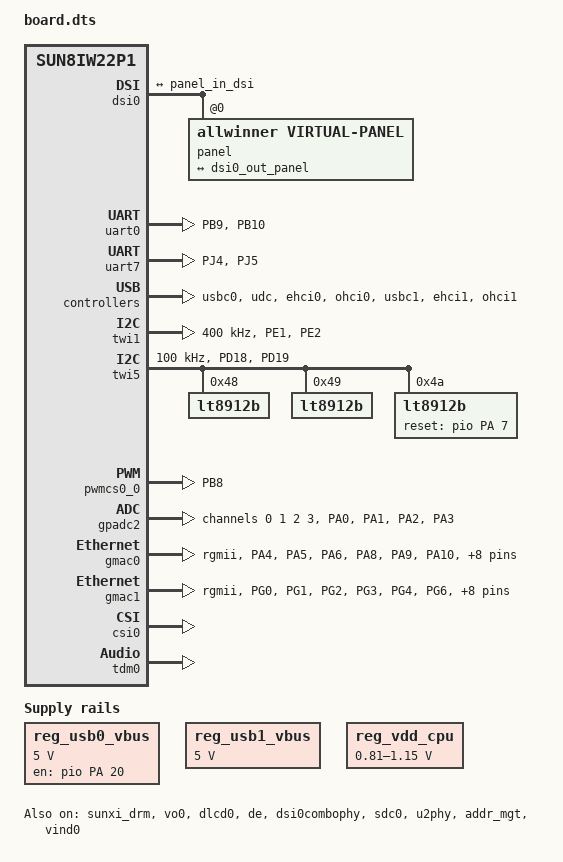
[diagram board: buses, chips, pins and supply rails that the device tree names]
// SPDX-License-Identifier: (GPL-2.0+ or MIT)

/dts-v1/;

#include "sun8iw22p1.dtsi"
#include <dt-bindings/input/input.h>

/{
	board = "t153", "t153-demo";
	compatible = "allwinner,t153", "arm,sun8iw22p1";
	aliases {
	};

	reg_usb0_vbus: usb0-vbus {
		compatible = "regulator-fixed";
		regulator-name = "usb0-vbus";
		regulator-min-microvolt = <5000000>;
		regulator-max-microvolt = <5000000>;
		regulator-enable-ramp-delay = <1000>;
		gpios = <&pio PA 20 GPIO_ACTIVE_HIGH>;
                enable-active-high;
	};

	reg_usb1_vbus: usb1-vbus {
		compatible = "regulator-fixed";
		regulator-name = "usb1-vbus";
		regulator-min-microvolt = <5000000>;
		regulator-max-microvolt = <5000000>;
		regulator-enable-ramp-delay = <1000>;
		enable-active-high;
	};

	reg_vdd_cpu: reg_vdd_cpu {
		compatible = "sunxi-pwm-regulator";
		pwms = <&pwmcs0 0 5000 1>;
		regulator-name = "vdd_cpu";
		regulator-min-microvolt = <810000>;
		regulator-max-microvolt = <1150000>;
		regulator-settling-time-us = <4000>;
		regulator-always-on;
		regulator-boot-on;
		status = "okay";
	};

	reserved-memory {
		rv_sram_reserved: riscvsram0@40000 {
			reg = <0x0 0x00040000 0x0 0x0002BFFF>;
			no-map;
			sleep-data-loss;
		};

		e907_mem_fw: e907_mem_fw@44000000 {
			/* boot0 & uboot0 load elf addr */
			reg = <0x0 0x44000000 0x0 0x00200000>;
		};

		/*
			* The name should be "vdev%dbuffer".
			* Its size should be not less than
			*     RPMSG_BUF_SIZE * (num of buffers in a vring) * 2
			*   = 512 * (num of buffers in a vring) * 2
			*/
		rv_vdev0buffer: vdev0buffer@42100000 {
			compatible = "shared-dma-pool";
			reg = <0x0 0x42100000 0x0 0x40000>;
			no-map;
		};

		/*
			* The name should be "vdev%dvring%d".
			* The size of each should be not less than
			*     PAGE_ALIGN(vring_size(num, align))
			*   = PAGE_ALIGN(16 * num + 6 + 2 * num + (pads for align) + 6 + 8 * num)
			*
			* (Please refer to the vring layout in include/uapi/linux/virtio_ring.h)
			*/
		rv_vdev0vring0: vdev0vring0@42140000 {
			reg = <0x0 0x42140000 0x0 0x2000>;
			no-map;
		};
		rv_vdev0vring1: vdev0vring1@42142000 {
			reg = <0x0 0x42142000 0x0 0x2000>;
			no-map;
		};

		e907_rpbuf_reserved: e907_rpbuf@42144000 {
			compatible = "shared-dma-pool";
			no-map;
			reg = <0x0 0x42144000 0x0 0x80000>;
		};

		e907_share_irq_table: share_irq_table@421c4000 {
			reg = <0x0 0x421c4000 0x0 0x1000>;
			no-map;
		};

		e907_dram_reserved: e907_dram@421c5000 {
			reg = <0x0 0x421c5000 0x0 0x00300000>;
			no-map;
		};
	};

	rpbuf_controller0: rpbuf_controller@0 {
			compatible = "allwinner,rpbuf-controller";
			remoteproc = <&e907_rproc>;
			ctrl_id = <0>;
			memory-region = <&e907_rpbuf_reserved>;
			status = "okay";
	};

	backlight0: backlight0 {
		compatible = "pwm-backlight";
		status = "disabled";
		brightness-levels = <
			0   1   2   3   4   5   6   7
			8   9   10  11  12  13  14  15
			16  17  18  19  20  21  22  23
			24  25  26  27  28  29  30  31
			32  33  34  35  36  37  38  39
			40  41  42  43  44  45  46  47
			48  49  50  51  52  53  54  55
			56  57  58  59  60  61  62  63
			64  65  66  67  68  69  70  71
			72  73  74  75  76  77  78  79
			80  81  82  83  84  85  86  87
			88  89  90  91  92  93  94  95
			96  97  98  99  100 101 102 103
			104 105 106 107 108 109 110 111
			112 113 114 115 116 117 118 119
			120 121 122 123 124 125 126 127
			128 129 130 131 132 133 134 135
			136 137 138 139 140 141 142 143
			144 145 146 147 148 149 150 151
			152 153 154 155 156 157 158 159
			160 161 162 163 164 165 166 167
			168 169 170 171 172 173 174 175
			176 177 178 179 180 181 182 183
			184 185 186 187 188 189 190 191
			192 193 194 195 196 197 198 199
			200 201 202 203 204 205 206 207
			208 209 210 211 212 213 214 215
			216 217 218 219 220 221 222 223
			224 225 226 227 228 229 230 231
			232 233 234 235 236 237 238 239
			240 241 242 243 244 245 246 247
			248 249 250 251 252 253 254 255>;
		default-brightness-level = <150>;
		enable-gpios = <&pio PB 14 GPIO_ACTIVE_HIGH>;
		pwms = <&pwmcs0 0 25000 0>;
	};

	lvds_panel: lvds_panel@0 {
		compatible = "sunxi-lvds";
		status = "disabled";
		backlight = <&backlight0>;
		bus-format = <MEDIA_BUS_FMT_RGB888_1X7X4_SPWG>;
		display-timings {
			native-mode = <&lvds0_timing0>;
			lvds0_timing0: timing0 {
				clock-frequency = <51448320>;
				hback-porch = <100>;
				hactive = <1024>;
				hfront-porch = <160>;
				hsync-len = <60>;
				vback-porch = <13>;
				vactive = <600>;
				vfront-porch = <15>;
				vsync-len = <10>;
			};
		};
		port {
			lvds_panel_in: endpoint {
				remote-endpoint = <&lvds_panel_out>;
			};
		};
	};
#if 0
	panel_0: panel_0@0 {
		compatible = "allwinner,panel-dsi";
		status = "disabled";
		enable-delay-ms = <10>;
		reset-gpios = <&pio PD 21 GPIO_ACTIVE_HIGH>;
		reset-on-sequence = <1 10>, <0 20>, <1 100>;
		reset-off-sequence = <0 100>;
		backlight = <&backlight0>;
		dsi,flags = <(MIPI_DSI_MODE_VIDEO | MIPI_DSI_ASYNC_INCELL)>;
		dsi,lanes = <4>;
		dsi,format = <0>;
		panel-init-sequence = [
			05 78 01 11
			05 14 01 29
		];
		panel-exit-sequence = [
			05 00 01 28
			05 78 01 10
		];

		display-timings {
			native-mode = <&timing0>;
			panel_timing0: panel_timing0 {
				clock-frequency = <156408000>;
				hback-porch = <40>;
				hactive = <1200>;
				hfront-porch = <80>;
				hsync-len = <10>;
				vback-porch = <16>;
				vactive = <1920>;
				vfront-porch = <20>;
				vsync-len = <4>;
			};
		};
		port {
			#address-cells = <1>;
			#size-cells = <0>;
			panel0_in: endpoint@0 {
				reg = <0>;
				remote-endpoint = <&panel_output_0>;
			};
		};
	};
#endif
	rgb_panel0: rgb_panel@1 {
		compatible = "sunxi-rgb";
		status = "disabled";
		reg = <0>;
		backlight = <&backlight0>;
		display-timings {
			native-mode = <&rgb0_timing0>;
			rgb0_timing0: timing0 {
				clock-frequency = <29232000>;
				hback-porch = <40>;
				hactive = <800>;
				hfront-porch = <40>;
				hsync-len = <48>;
				vback-porch = <29>;
				vactive = <480>;
				vfront-porch = <13>;
				vsync-len = <3>;
			};
		};
		port {
			rgb0_panel_in: endpoint {
				remote-endpoint = <&rgb0_panel_out>;
			};
		};
	};

	can0 {
		compatible = "allwinner,sun8i-t153-can";
		reg = <0x0 0x0453C800 0x0 0x400>,
			<0x0 0x04538000 0x0 0x4400>,
			<0x0 0x04530000 0x0 0x1000>,
			<0x0 0x04534000 0x0 0x1000>;
		reg-names = "can", "message_ram", "can_top", "can_dma";
		interrupts = <GIC_SPI 36 IRQ_TYPE_LEVEL_HIGH>, <GIC_SPI 35 IRQ_TYPE_LEVEL_HIGH>, <GIC_SPI 37 IRQ_TYPE_LEVEL_HIGH>;
		interrupt-names = "int0", "int_top", "int1";
		clocks = <&ccu CLK_CAN0>, <&ccu CLK_BUS_CAN0>, <&ccu CLK_MBUS_CAN_GATE>;
		clock-names = "can_clk", "can_bus", "can_mbus";
		resets = <&ccu RST_BUS_CAN0>, <&ccu RST_BUS_CAN_SYS>;
		reset-names = "can_rst", "can_sys_rst";
		clock-frequency = <40000000>;
		allwinner,ram-cfg = <0x0 0 0 64 64 64 32 32>;
		pinctrl-0 = <&can0_pins_active>;
		pinctrl-1 = <&can0_pins_sleep>;
		pinctrl-names = "default", "sleep";
		// status = "okay";
		status = "disabled"; // Modfiy by MHY
	};

	can1 {
		compatible = "allwinner,sun8i-t153-can";
		reg = <0x0 0x04541800 0x0 0x400>,
				<0x0 0x0453D000 0x0 0x4400>,
				<0x0 0x04531000 0x0 0x1000>,
				<0x0 0x04535000 0x0 0x1000>;
		reg-names = "can", "message_ram", "can_top", "can_dma";
		interrupts = <GIC_SPI 144 IRQ_TYPE_LEVEL_HIGH>, <GIC_SPI 146 IRQ_TYPE_LEVEL_HIGH>, <GIC_SPI 145 IRQ_TYPE_LEVEL_HIGH>;
		interrupt-names = "int0", "int_top", "int1";
		clocks = <&ccu CLK_CAN1>, <&ccu CLK_BUS_CAN1>, <&ccu CLK_MBUS_CAN_GATE>;
		clock-names = "can_clk", "can_bus", "can_mbus";
		resets = <&ccu RST_BUS_CAN1>, <&ccu RST_BUS_CAN_SYS>;
		reset-names = "can_rst", "can_sys_rst";
		clock-frequency = <40000000>;
		allwinner,ram-cfg = <0x0 0 0 64 64 64 32 32>;
		pinctrl-0 = <&can1_pins_active>;
		pinctrl-1 = <&can1_pins_sleep>;
		pinctrl-names = "default", "sleep";
		// status = "okay";
		status = "disabled"; // Modfiy by MHY
	};
};

&pio {
	uart0_pins_active: uart0_pins@0 {
		pins = "PB9", "PB10";
		function = "uart0";
	};

	uart0_pins_sleep: uart0_pins@1 {
		pins = "PB9", "PB10";
		function = "io_disabled";
	};

	uart1_pins_active: uart1_pins@0 {
		pins = "PG6", "PG7", "PG8", "PG9";
		function = "uart1";
		drive-strength = <10>;
		bias-pull-up;
	};

	uart1_pins_sleep: uart1_pins@1 {
		pins = "PG6", "PG7", "PG8", "PG9";
		function = "gpio_in";
	};

	uart2_pins_active: uart2_pins@0 {
		pins = "PD2", "PD3", "PD1", "PD0";
		function = "uart2";
	};

	uart2_pins_sleep: uart2_pins@1 {
		pins = "PD2", "PD3", "PD1", "PD0";
		function = "io_disabled";
	};

	uart3_pins_active: uart3_pins@0 {
		pins = "PD14", "PD15", "PD16", "PD17";
		function = "uart3";
	};

	uart3_pins_sleep: uart3_pins@1 {
		pins = "PD14", "PD15", "PD16", "PD17";
		function = "io_disabled";
	};

	uart4_pins_active: uart4_pins@0 {
		pins = "PD6", "PD7", "PD5", "PD4";
		function = "uart4";
	};

	uart4_pins_sleep: uart4_pins@1 {
		pins = "PD6", "PD7", "PD5", "PD4";
		function = "io_disabled";
	};

	uart5_pins_active: uart5_pins@0 {
		pins = "PC9", "PC10", "PC11", "PC8";
		function = "uart5";
	};

	uart5_pins_sleep: uart5_pins@1 {
		pins = "PC9", "PC10", "PC11", "PC8";
		function = "io_disabled";
	};

	uart6_pins_active: uart6_pins@0 {
		pins = "PA14", "PA15", "PE5", "PE6";
		function = "uart6";
	};

	uart6_pins_sleep: uart6_pins@1 {
		pins = "PA14", "PA15", "PE5", "PE6";
		function = "io_disabled";
	};
/*
	uart7_pins_active: uart7_pins@0 {
		pins = "PB13", "PB14", "PB11", "PB12";
		function = "uart7";
	};

	uart7_pins_sleep: uart7_pins@1 {
		pins = "PB13", "PB14", "PB11", "PB12";
		function = "io_disabled";
	};
*/

	uart7_pins_active: uart7_pins@0 {
		pins = "PJ4", "PJ5";
		function = "uart7";
	};

	uart7_pins_sleep: uart7_pins@1 {
		pins = "PJ4", "PJ5";
		function = "io_disabled";
	};

	uart8_pins_active: uart8_pins@0 {
		pins = "PD10", "PD11", "PD12", "PD13";
		function = "uart8";
	};

	uart8_pins_sleep: uart8_pins@1 {
		pins = "PD10", "PD11", "PD12", "PD13";
		function = "io_disabled";
	};

	uart9_pins_active: uart9_pins@0 {
		pins = "PD0", "PD1", "PD2", "PD3";
		function = "uart9";
	};

	uart9_pins_sleep: uart9_pins@1 {
		pins = "PD0", "PD1", "PD2", "PD3";
		function = "io_disabled";
	};

	/* CAN0 */
	can0_pins_active: can0_pins@0 {
		pins = "PJ12", "PJ13";
		function = "uart9";
	};

	can0_pins_sleep: can0_pins@1 {
		pins = "PJ12", "PJ13";
		function = "io_disabled";
	};

	/* CAN1 */
	can1_pins_active: can1_pins@0 {
		pins = "PJ14", "PJ15";
		function = "uart9";
	};

	can1_pins_sleep: can1_pins@1 {
		pins = "PJ14", "PJ15";
		function = "io_disabled";
	};

	spi0_pins_default: spi0@0 {
		pins = "PC0", "PC2", "PC3"; /* clk, mosi, miso */
		function = "spi0";
		drive-strength = <20>;
	};

	spi0_pins_cs: spi0@1 {
		pins = "PC1", "PC4", "PC5"; /* cs, wp, hold */
		function = "spi0";
		drive-strength = <20>;
		bias-pull-up;
	};

	spi0_pins_sleep: spi0@3 {
		pins = "PC0", "PC1", "PC2", "PC3", "PC4", "PC5";
		function = "gpio_in";
		drive-strength = <10>;
	};

	spi3_pins_default: spi1@0 {
		pins = "PB1", "PB2", "PB3"; /* clk, mosi, miso */
		function = "spi3";
		drive-strength = <10>;
	};

	spi3_pins_cs: spi1@1 {
		pins = "PB0"; /* cs, wp, hold */
		function = "spi3";
		drive-strength = <10>;
		bias-pull-up;
	};

	spi3_pins_sleep: spi1@2 {
		pins = "PB0", "PB1", "PB2", "PB3";
		function = "gpio_in";
		drive-strength = <10>;
	};

	twi1_pins_default: twi1@0 {
		pins = "PE1", "PE2";
		function = "twi1";
		drive-strength = <10>;
		bias-pull-up;
	};

	twi1_pins_sleep: twi1@1 {
		pins = "PE1", "PE2";
		function = "gpio_in";
	};


	twi2_pins_default: twi2@0 {
		pins = "PK7", "PK8";
		function = "twi2";
		drive-strength = <10>;
		bias-pull-up;
	};

	twi2_pins_sleep: twi2@1 {
		pins = "PK7", "PK8";
		function = "gpio_in";
	};
#if 0
	twi5_pins_default: twi5@0 {
		pins = "PD20", "PD21";
		function = "twi5";
		drive-strength = <10>;
		bias-pull-up;
	};

	twi5_pins_sleep: twi5@1 {
		pins = "PD20", "PD21";
		function = "gpio_in";
	};
#endif
	twi5_pins_default: twi5@0 {
		pins = "PD18", "PD19";
		function = "twi5";
		drive-strength = <10>;
		bias-pull-up;
	};

	twi5_pins_sleep: twi5@1 {
		pins = "PD18", "PD19";
		function = "gpio_in";
	};


	pwmcs0_0_pins_active: pwmcs0_0@0 {
		pins = "PB8";
		function = "pwm0_0";
		drive-strength = <20>;
	};

	pwmcs0_0_pins_sleep: pwmcs0_0@1 {
		pins = "PB8";
		function = "gpio_in";
		bias-pull-down;
	};

	pwmcs0_4_pins_active: pwmcs0_4@0 {
		pins = "PB13";
		function = "pwm0_4";
		drive-strength = <20>;
	};

	pwmcs0_4_pins_sleep: pwmcs0_4@1 {
		pins = "PB13";
		function = "gpio_in";
		bias-pull-down;
	};

	gpadc0_pins_default: gpadc0@0 {
		pins = "PA4", "PA5", "PA6", "PA7", "PA8", "PA9", "PA10", "PA11", "PA12", "PA13";
		function = "gpadc0";
	};

	gpadc0_pins_sleep: gpadc0@1 {
		pins = "PA4", "PA5", "PA6", "PA7", "PA8", "PA9", "PA10", "PA11", "PA12", "PA13";
		function = "gpio_in";
	};

	gpadc1_pins_default: gpadc1@0 {
		pins = "PA14","PA15";
		function = "gpadc1";
	};

	gpadc2_pins_sleep: gpadc2@1 {
		pins = "PA0", "PA1", "PA2", "PA3";
		function = "gpio_in";
	};

	gpadc2_pins_default: gpadc2@0 {
		pins = "PA0","PA1", "PA2", "PA3";
		function = "gpadc2";
	};

	gpadc1_pins_sleep: gpadc1@1 {
		pins = "PA14", "PA15";
		function = "gpio_in";
	};


	irrx0_pins_default: irrx0@0 {
		pins = "PJ12";
		function = "ir0";
	};

	irrx0_pins_sleep: irrx0@1 {
		pins = "PJ12";
		function = "gpio_in";
	};

	irrx1_pins_default: irrx1@0 {
		pins = "PJ13";
		function = "ir1";
	};

	irrx1_pins_sleep: irrx1@1 {
		pins = "PJ13";
		function = "gpio_in";
	};

	irrx2_pins_default: irrx2@0 {
		pins = "PJ14";
		function = "ir2";
	};

	irrx2_pins_sleep: irrx2@1 {
		pins = "PJ14";
		function = "gpio_in";
	};

	irrx3_pins_default: irrx3@0 {
		pins = "PJ15";
		function = "ir3";
	};

	irrx3_pins_sleep: irrx3@1 {
		pins = "PJ15";
		function = "gpio_in";
	};

	irtx0_pins_default: irtx@0 {
		pins = "PJ9";
		function = "ir";
	};

	irtx0_pins_sleep: irtx@1 {
		pins = "PJ9";
		function = "gpio_in";
	};

	dmic_pins_a: dmic@0 {
		/* DMIC_PIN: CLK, DATA0, DATA1, DATA2 */
		pins = "PF2", "PF3", "PF4", "PF5";
		function = "dmic";
		drive-strength = <10>;
		bias-disable;
	};

	dmic_pins_b: dmic@1 {
		pins = "PF2", "PF3", "PF4", "PF5";
		function = "io_disabled";
		drive-strength = <10>;
		bias-disable;
	};

	ledc_pins_default: ledc@0 {
		pins = "PJ8";
		function = "ledc";
		drive-strength = <20>;
	};

	ledc_pins_sleep: ledc@1 {
		pins = "PJ8";
		function = "gpio_in";
	};

	gmac0_pins_default: gmac0@0 {
		pins = "PA4", "PA5", "PA6",
			"PA8", "PA9", "PA10", "PA11",
			"PA12", "PA13", "PA15", "PA16", 
			"PA17", "PA18", "PA19";
		function = "rgmii0";
		drive-strength = <40>;
		bias-pull-up;
	};

	gmac0_pins_sleep: gmac0@1 {
		pins = "PA4", "PA5", "PA6", 
			"PA8", "PA9", "PA10", "PA11",
			"PA12", "PA13", "PA15", "PA16", 
			"PA17", "PA18", "PA19";
		function = "io_disabled";
	};

	gmac1_pins_default: gmac1@0 {
		pins = "PG0", "PG1", "PG2", "PG3", 
			"PG4", "PG6", "PG7", "PG8", 
			"PG10", "PG11", "PG12", 
			"PG13", "PG14", "PG15";
		function = "rgmii1";
		drive-strength = <40>;
		bias-pull-up;
	};

	gmac1_pins_sleep: gmac1@1 {
		pins = "PG0", "PG1", "PG2", "PG3", "PG4", "PG6", "PG7",
			"PG8", "PG10", "PG11", "PG12", "PG13", "PG14", "PG15";
		function = "io_disabled";
	};

	rtp_pins_default: rtp@0 {
		pins = "PA0", "PA1", "PA2", "PA3";
		function = "tp";
	};

	rtp_pins_sleep: rtp@1 {
		pins = "PA0", "PA1", "PA2", "PA3";
		function = "gpio_in";
	};
};

&lvds0 {
	status = "disabled";
	dual-channel = <0>;
	ports {
		#address-cells = <1>;
		#size-cells = <0>;
		port@1 {
			#address-cells = <1>;
			#size-cells = <0>;
			reg = <1>;
			lvds_panel_out: endpoint@0 {
				#address-cells = <1>;
				#size-cells = <0>;
				reg = <0>;
				remote-endpoint = <&lvds_panel_in>;
			};
			lvds_panel_out1: endpoint@1 {
			};
		};
	};
};

&dsi0_4lane_pins_a {
	pins = "PD0", "PD1", "PD2", "PD3", "PD4", "PD5", "PD6", "PD7", "PD8", "PD9";
	function = "dsi";
	drive-strength = <30>;
	bias-disable;
};

&dsi0_4lane_pins_b {
	pins = "PD0", "PD1", "PD2", "PD3", "PD4", "PD5", "PD6", "PD7", "PD8", "PD9";
	function = "io_disabled";
	bias-disable;
};

&dsi0 {
	status = "okay";
	pinctrl-0 = <&dsi0_4lane_pins_a>;
	pinctrl-1 = <&dsi0_4lane_pins_b>;
	pinctrl-names = "active","sleep";

	panel: panel@0 {
		compatible = "allwinner,virtual-panel";
		status = "okay";
		reg = <0>;

//		power-delay-ms = <10>;
//		power0-supply = <&reg_dcdc4>;
//		power1-supply = <&reg_cldo1>;

		reset-num = <1>;
		reset-delay-ms = <60>;
//		backlight = <&backlight0>;
		dsi,flags = <(MIPI_DSI_MODE_VIDEO)>;
		dsi,lanes = <4>;
		dsi,format = <0>; // 0:MIPI_DSI_FMT_RGB888
		panel-init-sequence = [
		];

		panel-exit-sequence = [
		];

		display-timings {
			native-mode = <&timing0>;
			timing0: timing0 {
				clock-frequency = <148500000>;
				hback-porch = <148>;
				hactive = <1920>;
				hfront-porch = <88>;
				hsync-len = <44>;
				vback-porch = <36>;
				vactive = <1080>;
				vfront-porch = <4>;
				vsync-len = <5>;
			};
		};

		port@0 {
			reg = <0>;
			panel_in_dsi: endpoint {
				remote-endpoint = <&dsi0_out_panel>;
			};
		};
	};

	ports {
		port@1 {
			reg = <1>;
			dsi0_out_panel:endpoint {
				remote-endpoint = <&panel_in_dsi>;
			};
		};
	};
};

&rgb0 {
	status = "disabled";
	pinctrl-0 = <&rgb0_24pins_a>;
	pinctrl-1 = <&rgb0_24pins_b>;
	pinctrl-names = "active","sleep";
	ports {
		port@1 {
			#address-cells = <1>;
			#size-cells = <0>;
			reg = <1>;
			rgb0_panel_out: endpoint@0 {
				reg = <0>;
				remote-endpoint = <&rgb0_panel_in>;
			};
			rgb1_panel_out: endpoint@1 {
			};
		};
	};
};

&sunxi_drm {
	status = "okay";
};
&vo0 {
	status = "okay";
};

&dlcd0 {
	status = "okay";
};

&de {
	chn_cfg_mode = <3>;
	status = "okay";
};

&dsi0combophy {
	status = "okay";
};

&uart0 {
	pinctrl-names = "default", "sleep";
	pinctrl-0 = <&uart0_pins_active>;
	pinctrl-1 = <&uart0_pins_sleep>;
	status = "okay";
};

&uart1 {
	pinctrl-names = "default", "sleep";
	pinctrl-0 = <&uart1_pins_active>;
	pinctrl-1 = <&uart1_pins_sleep>;
	status = "disabled";
};

&uart2 {
	pinctrl-names = "default", "sleep";
	pinctrl-0 = <&uart2_pins_active>;
	pinctrl-1 = <&uart2_pins_sleep>;
	status = "disabled";
};

&uart3 {
	pinctrl-names = "default", "sleep";
	pinctrl-0 = <&uart3_pins_active>;
	pinctrl-1 = <&uart3_pins_sleep>;
	status = "disabled";
};

&uart4 {
	pinctrl-names = "default", "sleep";
	pinctrl-0 = <&uart4_pins_active>;
	pinctrl-1 = <&uart4_pins_sleep>;
	status = "disabled";
};

&uart5 {
	pinctrl-names = "default", "sleep";
	pinctrl-0 = <&uart5_pins_active>;
	pinctrl-1 = <&uart5_pins_sleep>;
	status = "disabled";
};

&uart6 {
	pinctrl-names = "default", "sleep";
	pinctrl-0 = <&uart6_pins_active>;
	pinctrl-1 = <&uart6_pins_sleep>;
	status = "disabled";
};

&uart7 {
	pinctrl-names = "default", "sleep";
	pinctrl-0 = <&uart7_pins_active>;
	pinctrl-1 = <&uart7_pins_sleep>;
	status = "okay";
};

&uart8 {
	pinctrl-names = "default", "sleep";
	pinctrl-0 = <&uart8_pins_active>;
	pinctrl-1 = <&uart8_pins_sleep>;
	status = "disabled";
};

&uart9 {
	pinctrl-names = "default", "sleep";
	pinctrl-0 = <&uart9_pins_active>;
	pinctrl-1 = <&uart9_pins_sleep>;
	status = "disabled";
};

&soc {
	e907_rproc: e907_rproc@1a00000 {
		mboxes = <&msgbox 0>, <&msgbox 2>;
		mbox-names = "arm-kick", "arm-standby";
		memory-region = <&rv_vdev0buffer>, <&rv_vdev0vring0>, <&rv_vdev0vring1>, <&e907_dram_reserved>;
		fw-region = <&e907_mem_fw>;
		fw-partitions = "riscv0", "riscv0-r";
		fw-partition-sectors = <2048>;
		memory-mappings =
			/* < DA      len        PA >	*/
			/* SRAM A2 */
			< 0x40000    0x2BFFF    0x40000 >,
			/* SHARED SRAM */
			< 0x1000000  0x7ffff    0x1000000 >,
			/* DRAM SPACE1 */
			< 0x40000000 0x3f000000 0x40000000>,
			/* DRAM SPACE2 */
			< 0x80000000 0x3f000000 0x80000000>,
			/* DRAM SPACE3 */
			< 0xC0000000 0x3f000000 0xC0000000>;
		standby-ctrl-en = <0x1>;
		standby-record-reg = <0x07090114>;
		share-irq = "e907";
		//auto-boot;
		status = "okay";
		rproc_wdt: rproc_wdt@0 {
			timeout_ms = <6000>;
			try_times = <3>;
			reset_type = <0x2>;
			status="okay";
		};
	};

	gpio-keys {
		compatible = "gpio-keys";
		status = "disabled";

		power {
			label = "Power Button";
			linux,code = <KEY_POWER>;
			debounce-interval = <20>;
			//gpios = <&rtc_pio PW 1 GPIO_ACTIVE_HIGH>;
		};

		volume-up {
			label = "Volume Up";
			linux,code = <KEY_VOLUMEUP>;
			debounce-interval = <20>;
			//gpios = <&rtc_pio PW 2 GPIO_ACTIVE_HIGH>;
		};

		volume-down {
			label = "Volume Down";
			linux,code = <KEY_VOLUMEDOWN>;
			debounce-interval = <20>;
			//gpios = <&rtc_pio PW 3 GPIO_ACTIVE_HIGH>;
		};
	};

	auto_print@54321 {
		reg = <0x0 0x54321 0x0 0x0>;
		device_type = "auto_print";
		status = "okay";
	};

	mailbox_test: mailbox_test@0 {
		compatible = "core0-mailbox-test";
		mboxes = <&msgbox_core0 7>;
		mbox-names = "tx|rx0";
		status = "okay";
	};
};

&spi0 {
	pinctrl-0 = <&spi0_pins_default &spi0_pins_cs>;
	pinctrl-1 = <&spi0_pins_sleep>;
	pinctrl-names = "default", "sleep";
	sunxi,spi-bus-mode = <SUNXI_SPI_BUS_NAND>;
	sunxi,spi-cs-mode = <SUNXI_SPI_CS_SOFT>;
	status = "disabled";

	spi-nand@0 {
			compatible = "spi-nand";
			spi-max-frequency=<100000000>;
			reg = <0x0>;
			spi-rx-bus-width=<0x04>;
			spi-tx-bus-width=<0x04>;
			status="disabled";
	};
};

&sdc2 {
	non-removable;
	bus-width = <8>;
	mmc-ddr-1_8v;
	mmc-hs200-1_8v;
	mmc-hs400-1_8v;
	no-sdio;
	no-sd;
	ctl-spec-caps = <0x328>;
	cap-mmc-highspeed;
	sunxi-power-save-mode;
	sunxi-dis-signal-vol-sw;
	mmc-bootpart-noacc;
	/*cap-hsq;*/
	cqe-on;
	ctl-cmdq-md = <0x2>;
	/* b2c-ecc-on; */
	/* cqe-ecc-on; */
	max-frequency = <150000000>;
	/*vmmc-supply = <&reg_cldo3>;*/
	/*emmc io vol 3.3v*/
	/*vqmmc-supply = <&reg_aldo1>;*/
	/*emmc io vol 1.8v*/
	/*vqmmc-supply = <&reg_cldo1>;*/
	status = "disabled";
};

/*TF卡*/
&sdc0 {
	bus-width = <4>;
	cd-gpios = <&pio PF 6 (GPIO_ACTIVE_LOW | GPIO_PULL_UP)>;
	/*non-removable;*/
	/*broken-cd;*/
	/*cd-inverted*/
	/*data3-detect;*/
	/*card-pwr-gpios = <&pio PH 14 1 1 2 0xffffffff>;*/
	cd-used-24M;
	cd-set-debounce = <0x1>;
	cap-sd-highspeed;
	sd-uhs-sdr50;
	sd-uhs-ddr50;
	sd-uhs-sdr104;
	no-sdio;
	no-mmc;
	/* b2c-ecc-on; */
	sunxi-power-save-mode;
	/*sunxi-dis-signal-vol-sw;*/
	sunxi-signal-vol-sw-without-pmu;
	max-frequency = <150000000>;
	ctl-spec-caps = <0x428>;
	/*vmmc-supply = <&reg_cldo3>;*/
	/*vqmmc33sw-supply = <&reg_cldo3>;*/
	/*vdmmc33sw-supply = <&reg_cldo3>;*/
	/*vqmmc18sw-supply = <&reg_aldo4>;*/
	/*vdmmc18sw-supply = <&reg_aldo4>;*/
	status = "okay";
};

&sdc1 {
	bus-width = <4>;
	no-mmc;
	no-sd;
	cap-sd-highspeed;
	/*sd-uhs-sdr12*/
	sd-uhs-sdr25;
	sd-uhs-sdr50;
	sd-uhs-ddr50;
	sd-uhs-sdr104;
	/*sunxi-power-save-mode;*/
	sunxi-dis-signal-vol-sw;
	cap-sdio-irq;
	keep-power-in-suspend;
	ignore-pm-notify;
	max-frequency = <208000000>;
	ctl-spec-caps = <0x428>;
	status = "disabled";
};

&spi3 {
	pinctrl-0 = <&spi3_pins_default &spi3_pins_cs>;
	pinctrl-1 = <&spi3_pins_sleep>;
	pinctrl-names = "default", "sleep";
	sunxi,spi-bus-mode = <SUNXI_SPI_BUS_MASTER>;
	sunxi,spi-cs-mode = <SUNXI_SPI_CS_AUTO>;
	status = "disabled";
};

/*
 *usb_port_type: usb mode. 0-device, 1-host, 2-otg.
 *usb_detect_type: usb hotplug detect mode. 0-none, 1-vbus/id detect, 2-id/dpdm detect.
 *usb_detect_mode: 0-thread scan, 1-id gpio interrupt.
 *usb_id_gpio: gpio for id detect.
 *usb_det_vbus_gpio: gpio for id detect. gpio or "axp_ctrl";
 *usb_wakeup_suspend:0-SUPER_STANDBY, 1-USB_STANDBY.
 */
&usbc0 {
	device_type = "usbc0";
	usb_port_type = <0x2>;
	usb_detect_type = <0x1>;
	usb_detect_mode = <0>;
	usb_id_gpio = <&pio PB 11 GPIO_ACTIVE_HIGH>;
	enable-active-high;
	usb_det_vbus_gpio = <&pio PB 12 GPIO_ACTIVE_HIGH>;
	usb_wakeup_suspend = <0>;
	usb_serial_unique = <0>;
	usb_serial_number = "20080411";
	rndis_wceis = <1>;
	status = "okay";
};

&u2phy {
	status = "okay";
};

&udc {
	status = "okay";
};

/*
 *usb_port_type: usb mode: 0-device, 1-host, 2-otg.
 *usb_detect_type: usb hotplug detect mode. 0-none, 1-vbus/id detect, 2-id/dpdm detect.
 *usb_detect_mode: 0-thread scan, 1-id gpio interrupt.
 *usb_id_gpio: gpio for id detect.
 *usb_det_vbus_gpio: gpio for id detect. gpio or "axp_ctrl";
 *usb_wakeup_suspend：0-SUPER_STANDBY, 1-USB_STANDBY.
 */

&usbc0 {
        device_type = "usbc0";
        usb_port_type = <0x2>; 
        usb_detect_type = <0x3>;
        usb_detect_mode = <0x0>;
        usb_id_gpio = <&pio PA 21 GPIO_ACTIVE_HIGH>;
        enable-active-high;
        usb_det_vbus_gpio = <&pio PA 7 GPIO_ACTIVE_HIGH>;
        enable-active-high;
        usb_regulator_io = "nocare";
        usb_wakeup_suspend = <0>;
        usb_luns = <3>;
        usb_serial_unique = <0>; 
        usb_serial_number = "20080411"; 
        rndis_wceis = <1>;
        status = "okay";
};              

&ehci0 {
	drvvbus-supply = <&reg_usb0_vbus>;
	status = "okay";
};

&ohci0 {
	drvvbus-supply = <&reg_usb0_vbus>;
	status = "okay";
};

&usbc1 {
	device_type = "usbc1";
	usb_regulator_io = "nocare";
	status = "okay";
};

&ehci1 {
	drvvbus-supply = <&reg_usb1_vbus>;
	status = "okay";
};

&ohci1 {
	drvvbus-supply = <&reg_usb1_vbus>;
	status = "okay";
};

#if 1
&twi1 {
	clock-frequency = <400000>;
	pinctrl-0 = <&twi1_pins_default>;
	pinctrl-1 = <&twi1_pins_sleep>;
	pinctrl-names = "default", "sleep";
	/* For stability and backwards compatibility, we recommend setting 'twi_drv_used' to 1 */
	twi_drv_used = <1>;
	/* twi-supply = <&reg_cldo3>; */
	status = "okay";
#if 0
	gc05a2_dphy0: gc05a2-1@37 {
        compatible = "gc05a2_mipi";
        status = "okay";
        reg = <0x37>;
        clocks = <&cru CLK_CAM1_OUT2IO>;
        clock-names = "xvclk";

        pinctrl-names = "default";
        pinctrl-0 = <&camm0_clk1_out>;

     	reset-gpios = <&gpio3 RK_PB5 GPIO_ACTIVE_HIGH>;
	 	pwdn-gpios = <&gpio3 RK_PC1 GPIO_ACTIVE_HIGH>;

		avdd-supply = <&vcc2v8_dvp>;
		dvdd-supply = <&vcc_mipicsi0>;
		dovdd-supply = <&vcc1v8_dvp>;

        rockchip,camera-module-index = <1>;
        rockchip,camera-module-facing = "back";
        rockchip,camera-module-name = "KYT-11210-V2";
        rockchip,camera-module-lens-name = "default";
        port{
                gc05a2_out_dphy1: endpoint {
                    remote-endpoint = <&mipi_in_gc05a2_1>;
                    data-lanes = <1 2>;
            	};
        };
    };
#endif
};
#endif

&twi2 {
	clock-frequency = <400000>;
	pinctrl-0 = <&twi2_pins_default>;
	pinctrl-1 = <&twi2_pins_sleep>;
	pinctrl-names = "default", "sleep";
	/* For stability and backwards compatibility, we recommend setting 'twi_drv_used' to 1 */
	twi_drv_used = <1>;
	/* twi-supply = <&reg_cldo3>; */
	status = "disabled";

	ctp {
		compatible = "allwinner,goodix";
		reg = <0x5d>;
		device_type = "ctp";
		status = "disabled";
		ctp_name = "gt9xxnew_ts";
		ctp_twi_id = <0x0>;
		ctp_twi_addr = <0x5d>;
		ctp_screen_max_x = <0x320>;
		ctp_screen_max_y = <0x500>;
		ctp_revert_x_flag = <0x1>;
		ctp_revert_y_flag = <0x1>;
		ctp_exchange_x_y_flag = <0x0>;
		ctp_int_port = <&pio PH 9 GPIO_ACTIVE_LOW>;
		ctp_wakeup = <&pio PH 10 GPIO_ACTIVE_LOW>;
		// ctp-supply = <&reg_dcdc1>;
		ctp_power_ldo_vol = <3300>;
	};

	gt9xx {
		compatible = "goodix,gt9xx";
		reg = <0x5d>;
		status = "disabled";
		irq-gpios = <&pio PK 0 GPIO_ACTIVE_LOW>;
		irq-flags = <2>;
		reset-gpios = <&pio PK 5 GPIO_ACTIVE_LOW>;
		//vdd_ana-supply = <&reg_dcdc1>;

		touchscreen-max-id = <11>;
		touchscreen-size-x = <1280>;
		touchscreen-size-y = <800>;
		touchscreen-max-w = <512>;
		touchscreen-max-p = <512>;
		//touchscreen-key-map = <172>, <158>; /*KEY_HOMEPAGE=172 KEY_BACK=158 KEY_MENU=139*/
		goodix,slide-wakeup = <0>;
		goodix,type-a-report = <1>;
		goodix,driver-send-cfg = <0>;
		goodix,send-cfg-id = <0>;
		goodix,resume-in-workqueue = <0>;
		goodix,int-sync = <1>;
		goodix,revert_x = <0>;
		goodix,revert_y = <0>;
		goodix,swap-x2y = <0>;
		goodix,tp_idle_support = <1>;
		goodix,esd-protect = <1>;
		goodix,auto-update-cfg = <0>;
		goodix,power-off-sleep = <1>;
		goodix,pen-suppress-finger = <0>;
		/* GT9271_Config_20221222_v67.cfg*/
		goodix,cfg-group0 = [
			B4 00 05 20 03 0A 3D 00 01 0A
			28 0F 50 32 03 05 00 00 00 00
			00 00 06 17 19 1F 14 8E 2E 99
			2D 2F 35 11 00 00 00 1A 03 10
			00 00 00 00 00 00 00 00 00 00
			00 32 50 94 D5 02 07 00 00 04
			8E 48 00 8A 4D 00 86 53 00 83
			59 00 80 60 00 80 00 00 00 00
			00 00 00 00 00 00 00 00 00 00
			00 00 00 00 00 00 00 00 00 00
			00 00 00 00 00 00 00 00 00 00
			00 00 00 01 04 05 06 07 08 09
			0C 0D 0E 0F 10 11 14 15 16 17
			FF FF FF FF FF FF FF FF FF FF
			FF FF 28 27 26 25 24 23 22 21
			20 1F 1E 1C 1B 19 13 12 11 10
			0F 0D 0C 0A 08 07 06 04 02 00
			FF FF FF FF FF FF FF FF FF FF
			FF FF FF FF AB 01
		];
	};
};

&twi5 {
	clock-frequency = <100000>;
	pinctrl-0 = <&twi5_pins_default>;
	pinctrl-1 = <&twi5_pins_sleep>;
	pinctrl-names = "default", "sleep";
	/* For stability and backwards compatibility, we recommend setting 'twi_drv_used' to 1 */
	twi_drv_used = <1>;
	/* twi-supply = <&reg_cldo3>; */
	status = "okay";

	lt8912b@0x48 {
		reg = <0x48>;
		compatible = "lt8912b";
	};
	lt8912b@0x49 {
		reg = <0x49>;
		compatible = "lt8912b";
	};
	lt8912b@0x4a {
		reg = <0x4a>;
		compatible = "lt8912b";
		reset-gpios = <&pio PA 7 GPIO_ACTIVE_HIGH>;
	};
};

&pwmcs0_0 {
	pinctrl-names = "active", "sleep";
	pinctrl-0 = <&pwmcs0_0_pins_active>;
	pinctrl-1 = <&pwmcs0_0_pins_sleep>;
	status = "okay";
};

&pwmcs0_4 {
	pinctrl-names = "active", "sleep";
	pinctrl-0 = <&pwmcs0_4_pins_active>;
	pinctrl-1 = <&pwmcs0_4_pins_sleep>;
	status = "disabled";
};

&cpu0 {
	cpu-supply = <&reg_vdd_cpu>;
};

&gpadc0 {
	pinctrl-names = "default", "sleep";
	pinctrl-0 = <&gpadc0_pins_default>;
	pinctrl-1 = <&gpadc0_pins_sleep>;
	channel_num = <10>;
	channel_select = <3>;
	channel_data_select = <0>;
	channel_compare_select = <0>;
	channel_cld_select = <3>;
	channel_chd_select = <0>;
	channel0_compare_lowdata = <1700000>;
	channel0_compare_higdata = <1200000>;
	channel1_compare_lowdata = <460000>;
	channel1_compare_higdata = <1200000>;
	status = "disabled";
};

&gpadc1 {
	channel_num = <10>;
	pinctrl-0 = <&gpadc1_pins_default>;
	pinctrl-1 = <&gpadc1_pins_sleep>;
	channel_select = <0x2>;
	channel_data_select = <0>;
	channel_compare_select = <0x2>;
	channel_cld_select = <0x2>;
	channel_chd_select = <0>;
	channel0_compare_lowdata = <1700000>;
	channel0_compare_higdata = <1200000>;
	channel1_compare_lowdata = <900000>;
	channel1_compare_higdata = <0>;
	status = "disabled";
	keyadc1 {
		key_cnt = <5>;
		key0_vol = <210>;
		key0_val = <115>;
		key1_vol = <410>;
		key1_val = <114>;
		key2_vol = <590>;
		key2_val = <139>;
		key3_vol = <750>;
		key3_val = <28>;
		key4_vol = <880>;
		key4_val = <102>;
	};
};

&gpadc2 {
	pinctrl-0 = <&gpadc2_pins_default>;
	pinctrl-1 = <&gpadc2_pins_sleep>;
	channel_num = <4>;
	only_used_for_gpadc;
	channel_select = <0xf>;
	//channel_data_select = <0xf>;
	status = "okay";

	/* 通道定义 */
	channel@0 { /* 不要删除此节点 */
		reg = <0>;
	};

	channel@1 { /* 不要删除此节点 */
		reg = <1>;
	};

	channel@2 { /* 不要删除此节点 */
		reg = <2>;
	};

	channel@3 { /* 不要删除此节点 */
		reg = <3>;
	};
};

&gpadc3 {
	channel_num = <2>;
	channel_select = <3>;
	channel_data_select = <0>;
	channel_compare_select = <0>;
	channel_cld_select = <3>;
	channel_chd_select = <0>;
	channel0_compare_lowdata = <1700000>;
	channel0_compare_higdata = <1200000>;
	channel1_compare_lowdata = <460000>;
	channel1_compare_higdata = <1200000>;
	status = "disabled";
};

&rfkill {
	compatible = "allwinner,sunxi-rfkill";
	chip_en;
	power_en;
	pinctrl-0;
	pinctrl-names;
	status = "disabled";

	/* wlan session */
	wlan {
		compatible    = "allwinner,sunxi-wlan";
		wlan_busnum   = <0x1>;
		wlan_regon    = <&pio PG 13 GPIO_ACTIVE_HIGH>;
		wlan_hostwake = <&pio PG 11 GPIO_ACTIVE_HIGH>;
		wakeup-source;
		regulator-boot-on;
		regulator-always-on;
		status        = "disabled";
	};

	/* bt session */
	bt {
		compatible    = "allwinner,sunxi-bt";
		bt_rst_n      = <&pio PG 12 GPIO_ACTIVE_LOW>;
		status        = "disabled";
	};

};

&btlpm {
	compatible  = "allwinner,sunxi-btlpm";
	uart_index  = <0x1>;
	bt_wake     = <&pio PG 14 GPIO_ACTIVE_HIGH>;
	bt_hostwake = <&pio PG 15 GPIO_ACTIVE_HIGH>;
	/* wakeup-source; */
	status      = "disabled";
};

&addr_mgt {
	compatible = "allwinner,sunxi-addr_mgt";
	type_addr_wifi = <0x0>;
	type_addr_bt   = <0x0>;
	type_addr_eth  = <0x0>;
	status = "okay";
};

&irrx0 {
	pinctrl-names = "default", "sleep";
	pinctrl-0 = <&irrx0_pins_default>;
	pinctrl-1 = <&irrx0_pins_sleep>;
	status = "disabled";
};

&irrx1 {
	pinctrl-names = "default", "sleep";
	pinctrl-0 = <&irrx1_pins_default>;
	pinctrl-1 = <&irrx1_pins_sleep>;
	status = "disabled";
};

&irrx2 {
	pinctrl-names = "default", "sleep";
	pinctrl-0 = <&irrx2_pins_default>;
	pinctrl-1 = <&irrx2_pins_sleep>;
	status = "disabled";
};

&irrx3 {
	pinctrl-names = "default", "sleep";
	pinctrl-0 = <&irrx3_pins_default>;
	pinctrl-1 = <&irrx3_pins_sleep>;
	status = "disabled";
};

&irtx0 {
	pinctrl-names = "default", "sleep";
	pinctrl-0 = <&irtx0_pins_default>;
	pinctrl-1 = <&irtx0_pins_sleep>;
	status = "disabled";
};

&ledc  {
	pinctrl-names = "default", "sleep";
	pinctrl-0 = <&ledc_pins_default>;
	pinctrl-1 = <&ledc_pins_sleep>;
	led_count = <32>;
	output_mode = "GRB";
	reset_ns = <84>;
	t1h_ns = <800>;
	t1l_ns = <320>;
	t0h_ns = <300>;
	t0l_ns = <800>;
	wait_time0_ns = <84>;
	wait_time1_ns = <84>;
	wait_data_time_ns = <600000>;
	status = "disabled";
};

/* audio dirver module -> audio codec */
&codec {
	tx-hub-en;

	dac-vol		= <63>;		/* default value:63 range:0->63 */
	dacl-vol	= <160>;	/* default value:160 range:0->255 */
	lineout-gain	= <31>;		/* default value:31 range:0->31 */

	pa-pin-max	= <1>;
	pa-pin-0	= <&pio PG 10 GPIO_ACTIVE_HIGH>;
	pa-pin-level-0	= <1>;
	pa-pin-msleep-0	= <0>;

	status = "disabled";
};

&codec_plat {
	status = "disabled";
};

&codec_mach {
	status = "disabled";
	soundcard-mach,cpu {
		sound-dai = <&codec_plat>;
	};
	soundcard-mach,codec {
		sound-dai = <&codec>;
	};
};

/* audio dirver module -> owa */
&owa_plat {
	/* pinctrl-used; */
	/* pinctrl-names	= "default","sleep"; */
	/* pinctrl-0	= <&owa_pins_a>; */
	/* pinctrl-1	= <&owa_pins_b>; */
	tx-hub-en;

	status		= "disabled";
};

&owa_mach {
	status		= "disabled";
	soundcard-mach,cpu {
		sound-dai = <&owa_plat>;
	};
	soundcard-mach,codec {
	};
};

/* audio dirver module -> DMIC */
&dmic_plat {
	rx-chmap	= <0x76543210>;
	data-vol	= <0xB0>;
	rxdelaytime	= <0>;
	pinctrl-used;
	pinctrl-names	= "default","sleep";
	pinctrl-0	= <&dmic_pins_a>;
	pinctrl-1	= <&dmic_pins_b>;
	rx-sync-en;
	status		= "disabled";
};

&dmic_mach {
	status		= "disabled";
	soundcard-mach,cpu {
		sound-dai = <&dmic_plat>;
	};
	soundcard-mach,codec {
	};
};

/* audio dirver module -> I2S/PCM */
&i2s0_plat {
	tdm-num		= <0>;
	tx-pin		= <0>;
	rx-pin		= <0>;
	/* pinctrl-used; */
	/* pinctrl-names	= "default","sleep"; */
	/* pinctrl-0	= <&i2s0_pins_a &i2s0_pins_c>; */
	/* pinctrl-1	= <&i2s0_pins_b &i2s0_pins_d>; */
	tx-hub-en;
	rx-sync-en;
	status		= "disabled";
};

&i2s0_mach {
	soundcard-mach,format		= "i2s";
	soundcard-mach,frame-master	= <&i2s0_cpu>;
	soundcard-mach,bitclock-master	= <&i2s0_cpu>;
	/* soundcard-mach,frame-inversion; */
	/* soundcard-mach,bitclock-inversion; */
	soundcard-mach,slot-num		= <2>;
	soundcard-mach,slot-width	= <32>;
	soundcard-mach,capture-only;
	status		= "disabled";
	i2s0_cpu: soundcard-mach,cpu {
		sound-dai = <&i2s0_plat>;
		/* note: pll freq = 24.576M or 22.5792M * pll-fs */
		soundcard-mach,pll-fs	= <1>;
		/* note:
		 * mclk freq = mclk-fs * 12.288M or 11.2896M	(when mclk-fp ture)
		 * mclk freq = mclk-fs * pcm rate		(when mclk-fp false)
		 */
		soundcard-mach,mclk-fs	= <1>;
		soundcard-mach,mclk-fp;
	};
	i2s0_codec: soundcard-mach,codec {
		soundcard-mach,pll-fs   = <1>;
	};
};

&i2s1_plat {
	tdm-num		= <1>;
	tx-pin		= <0>;
	rx-pin		= <0>;
	/* pinctrl-used; */
	/* pinctrl-names= "default","sleep"; */
	/* pinctrl-0	= <&i2s1_pins_a &i2s1_pins_b &i2s1_pins_c &i2s1_pins_d>; */
	/* pinctrl-1	= <&i2s1_pins_e>; */
	tx-hub-en;
	rx-sync-en;
	status		= "disabled";
};

&i2s1_mach {
	soundcard-mach,format		= "dsp_a";
	soundcard-mach,frame-master	= <&i2s1_cpu>;
	soundcard-mach,bitclock-master	= <&i2s1_cpu>;
	/* soundcard-mach,frame-inversion; */
	soundcard-mach,bitclock-inversion;
	soundcard-mach,slot-num		= <2>;
	soundcard-mach,slot-width	= <16>;
	status		= "disabled";
	i2s1_cpu: soundcard-mach,cpu {
		sound-dai = <&i2s1_plat>;
		soundcard-mach,pll-fs	= <1>;
		soundcard-mach,mclk-fs	= <0>;
	};
	i2s1_codec: soundcard-mach,codec {
	};
};

&i2s2_plat {
	tdm-num		= <2>;
	tx-pin		= <0 1 2 3>;

	rx-pin		= <0>;
	/* pinctrl-used; */
	/* pinctrl-names= "default","sleep"; */
	/* pinctrl-0	= <&i2s2_pins_a>; */
	/* pinctrl-1	= <&i2s2_pins_b>; */
	tx-hub-en;
	rx-sync-en;
	/* edp not need dai-type */
	status		= "disabled";
};

&i2s2_mach {
	soundcard-mach,format		= "i2s";
	soundcard-mach,frame-master	= <&i2s2_cpu>;
	soundcard-mach,bitclock-master	= <&i2s2_cpu>;
	/* soundcard-mach,frame-inversion; */
	/* soundcard-mach,bitclock-inversion; */
	soundcard-mach,slot-num		= <2>;
	soundcard-mach,slot-width	= <32>;
	status		= "disabled";
	i2s2_cpu: soundcard-mach,cpu {
		sound-dai = <&i2s2_plat>;
		soundcard-mach,pll-fs	= <1>;
		/* edp mclk: 512fs */
		soundcard-mach,mclk-fs	= <0>;
	};
	i2s2_codec: soundcard-mach,codec {

	};
};


&gmac0_phy0 {
	compatible = "ethernet-phy-id4f51.e91b";
	reg = <0x0>;
	max-speed = <1000>;
	reset-gpios = <&pio PA 14 GPIO_ACTIVE_LOW>;
	/* PHY datasheet rst time */
	reset-assert-us = <10000>;
	reset-deassert-us = <30000>;
};

&gmac1_phy0 {
	compatible = "ethernet-phy-id4f51.e91b";
	reg = <0x0>;
	max-speed = <1000>;
	reset-gpios = <&pio PG 5 GPIO_ACTIVE_LOW>;
	/* PHY datasheet rst time */
	reset-assert-us = <10000>;
	reset-deassert-us = <30000>;
};

&gmac0 {
	phy-mode = "rgmii";
	pinctrl-names = "default", "sleep";
	pinctrl-0 = <&gmac0_pins_default>;
	pinctrl-1 = <&gmac0_pins_sleep>;
	tx-delay = <10>;
        rx-delay = <10>;
	/delete-property/ aw,soc-phy25m;
	/delete-property/ aw,rgmii-clk-ext;
	status = "okay";
};

&gmac1 {
	phy-mode = "rgmii";
	pinctrl-names = "default", "sleep";
	pinctrl-0 = <&gmac1_pins_default>;
	pinctrl-1 = <&gmac1_pins_sleep>;
	tx-delay = <10>;
        rx-delay = <10>;
	/delete-property/ aw,soc-phy25m;
	/delete-property/ aw,rgmii-clk-ext;
	status = "okay";
};

&dma1 {
       status="okay";
};

&rtp {
	pinctrl-names = "default", "sleep";
	pinctrl-0 = <&rtp_pins_default>;
	pinctrl-1 = <&rtp_pins_sleep>;
	allwinner,tp-sensitive-adjust = <0xa>;
	allwinner,filter-type = <0x3>;
	status = "disabled";
};


&csi_mclk2_pins_a {
	pins = "PA6";
	function = "ncsi";
	drive-strength = <20>;
};

&csi_mclk2_pins_b {
	pins = "PA6";
	function = "gpio_in";
};

&ncsi_8bit_pins_a {
	pins = 	"PA7", "PA4", "PA5",
		"PA8", "PA9", "PA10", "PA11",
		"PA12", "PA13", "PA14", "PA15";
	function = "ncsi";
	drive-strength = <10>;
};

&ncsi_8bit_pins_b {
	pins = 	"PA7", "PA4", "PA5",
		"PA8", "PA9", "PA10", "PA11",
		"PA12", "PA13", "PA14", "PA15";
	function = "gpio_in";
};

&vind0 {
      csi_top = <300000000>;
      csi_isp = <300000000>;
      //vind_mclkpin-supply = <>; /* vcc-pe */
      //vind_mclkpin_vol = <1800000>;
      //vind_mcsipin-supply = <>;  /* vcc-mcsi */
      //vind_mcsipin_vol = <1800000>;
      //vind_mipipin-supply = <>;  /* vcc-pk */
      //vind_mipipin_vol = <1800000>;
      status = "okay";

      csi0: csi@5820000 {
	      status = "okay";
      };

      csi1: csi@5821000 {
	      status = "disabled";
      };

      csi2: csi@5822000 {
              pinctrl-names = "default","sleep";
              pinctrl-0 = <&ncsi_8bit_pins_a>;
              pinctrl-1 = <&ncsi_8bit_pins_b>;
              status = "disabled";
      };

      mipi0: mipi@5810100 {
	      pinctrl-names = "mipi0-1lane-default","mipi0-1lane-sleep",
				"mipi0-2lane-default","mipi0-2lane-sleep";
	      pinctrl-0 = <&mipia_1lane_pins_a>;
	      pinctrl-1 = <&mipia_1lane_pins_b>;
	      pinctrl-2 = <&mipia_2lane_pins_a>;
	      pinctrl-3 = <&mipia_2lane_pins_b>;
	      status = "okay";
      };

      mipi1: mipi@5810200 {
	      status = "disabled";
      };

      mipi2: mipi@5810300 {
	      status = "disabled";
      };

      tdm0:tdm@5908000 {
              work_mode = <0>;
              status = "okay";
      };

      isp00:isp@5900000 {
              work_mode = <0>;
              status = "okay";
      };

      isp01:isp@5902000 {
              status = "disabled";
      };

      isp10:isp@2 {
              status = "disabled";
      };

      isp20:isp@3 {
              status = "disabled";
      };

      scaler00:scaler@5910000 {
              work_mode = <0>;
              status = "okay";
      };

      scaler01:scaler@590fffc {
              status = "disabled";
      };

      scaler10:scaler@5910400 {
              work_mode = <0>;
              status = "disabled";
      };

      scaler11:scaler@59103fc {
              status = "disabled";
      };

      scaler20:scaler@8 {
              work_mode = <0>;
              status = "disabled";
      };

      actuator0: actuator@2108180 {
              device_type = "actuator0";
              actuator0_name = "cn3927_act";
              actuator0_slave = <0x18>;
              actuator0_af_pwdn = <>;
              actuator0_afvdd = "afvcc-csi";
              actuator0_afvdd_vol = <2800000>;
              status = "disabled";
      };

      flash0: flash@2108190 {
              device_type = "flash0";
              flash0_type = <2>;
              flash0_en = <>;
              flash0_mode = <>;
              flash0_flvdd = "";
              flash0_flvdd_vol = <>;
              device_id = <0>;
              status = "disabled";
      };

      sensor0:sensor@5812000 {
              device_type = "sensor0";
              sensor0_mname = "gc05a2_mipi";
              sensor0_twi_cci_id = <1>;
              sensor0_twi_addr = <0x6e>;
              sensor0_mclk_id = <0>;
              sensor0_pos = "rear";
              sensor0_isp_used = <1>;
              sensor0_fmt = <1>;
              sensor0_stby_mode = <0>;
              sensor0_vflip = <0>;
              sensor0_hflip = <0>;
              sensor0_power_en = <&pio PA 23 GPIO_ACTIVE_HIGH>;
              sensor0_reset = <&pio PG 9 GPIO_ACTIVE_LOW>;
              sensor0_pwdn = <&pio PE 8 GPIO_ACTIVE_HIGH>;
	      flash_handle = <&flash0>;
	      act_handle = <&actuator0>;
              status = "okay";
      };

      sensor1:sensor@5812010 {
              device_type = "sensor1";
              sensor1_mname = "nvp6158";
              sensor1_twi_cci_id = <5>;
              sensor1_twi_addr = <0x64>;
              sensor1_mclk_id = <2>;
              sensor1_pos = "front";
              sensor1_isp_used = <0>;
              sensor1_fmt = <0>;
              sensor1_stby_mode = <0>;
              sensor1_vflip = <0>;
              sensor1_hflip = <0>;
              sensor1_iovdd-supply = <>;
              sensor1_iovdd_vol = <>;
              sensor1_avdd-supply = <>;
              sensor1_avdd_vol = <>;
              sensor1_dvdd-supply = <>;
              sensor1_dvdd_vol = <>;
              sensor1_power_en = <>;
              sensor1_reset = <&pio PG 13 GPIO_ACTIVE_LOW>;
              sensor1_pwdn = <>;
              status = "disabled";
      };

      sensor_list0:sensor_list@200b820 {
              sensor00_mname = "gc5035_mipi";
              sensor00_twi_addr = <0x6c>;
              sensor00_type = <1>;
              sensor00_hflip =  <0>;
              sensor00_vflip = <0>;
              sensor00_act_used = <1>;
              sensor00_act_name = "dw9714_act";
              sensor00_act_twi_addr = <0x18>;
              sensor01_mname = "ov5675_mipi";
              sensor01_twi_addr = <0x6c>;
              sensor01_type = <1>;
              sensor01_hflip =  <0>;
              sensor01_vflip = <0>;
              sensor01_act_used = <1>;
              sensor01_act_name = "dw9714_act";
              sensor01_act_twi_addr = <0x18>;
              sensor02_mname = "sp5409_mipi";
              sensor02_twi_addr = <0x78>;
              sensor02_type = <1>;
              sensor02_hflip =  <0>;
              sensor02_vflip = <0>;
              sensor02_act_used = <1>;
              sensor02_act_name = "dw9714_act";
              sensor02_act_twi_addr = <0x18>;
              status  = "disabled";
      };

      sensor_list1:sensor_list@200b830 {
              sensor10_mname = "gc02m2_mipi";
              sensor10_twi_addr = <0x20>;
              sensor10_type = <1>;
              sensor10_hflip =  <0>;
              sensor10_vflip = <0>;
              sensor10_act_used = <0>;
              sensor10_act_name = "";
              sensor10_act_twi_addr = <>;
              sensor11_mname = "ov02a10_mipi";
              sensor11_twi_addr = <0x7a>;
              sensor11_type = <1>;
              sensor11_hflip =  <1>;
              sensor11_vflip = <0>;
              sensor11_act_used = <0>;
              sensor11_act_name = "";
              sensor11_act_twi_addr = <>;
              sensor12_mname = "gc030a_mipi";
              sensor12_twi_addr = <0x42>;
              sensor12_type = <1>;
              sensor12_hflip =  <0>;
              sensor12_vflip = <0>;
              sensor12_act_used = <0>;
              sensor12_act_name = "";
              sensor12_act_twi_addr = <>;
              status  = "disabled";
      };

      vinc00:vinc@5830000 {
              vinc0_csi_sel = <0>;
              vinc0_mipi_sel = <0>;
              vinc0_isp_sel = <0>;
              vinc0_isp_tx_ch = <0>;
              vinc0_tdm_rx_sel = <0xff>;
              vinc0_rear_sensor_sel = <0>;
              vinc0_front_sensor_sel = <0>;
              vinc0_sensor_list = <0>;
              device_id = <0>;
              work_mode = <0x0>;
              status = "okay";
      };

      vinc01:vinc@582fffc {
              vinc1_csi_sel = <1>;
              vinc1_mipi_sel = <1>;
              vinc1_isp_sel = <1>;
              vinc1_isp_tx_ch = <0>;
              vinc1_tdm_rx_sel = <1>;
              vinc1_rear_sensor_sel = <1>;
              vinc1_front_sensor_sel = <1>;
              vinc1_sensor_list = <0>;
              device_id = <1>;
              status = "disabled";
      };

      vinc10:vinc@5831000 {
              vinc4_csi_sel = <2>;
              vinc4_mipi_sel = <0xff>;
              vinc4_isp_sel = <2>;
              vinc4_isp_tx_ch = <0>;
              vinc4_tdm_rx_sel = <0>;
              vinc4_rear_sensor_sel = <1>;
              vinc4_front_sensor_sel = <1>;
              vinc4_sensor_list = <0>;
              device_id = <4>;
              work_mode = <0x0>;
              status = "okay";
      };

      vinc11:vinc@5830ffc {
              vinc5_csi_sel = <1>;
              vinc5_mipi_sel = <1>;
              vinc5_isp_sel = <1>;
              vinc5_isp_tx_ch = <0>;
              vinc5_tdm_rx_sel = <1>;
              vinc5_rear_sensor_sel = <1>;
              vinc5_front_sensor_sel = <1>;
              vinc5_sensor_list = <0>;
              device_id = <5>;
              status = "disabled";
      };

      vinc20:vinc@5832000 {
              vinc8_csi_sel = <2>;
              vinc8_mipi_sel = <0xff>;
              vinc8_isp_sel = <2>;
              vinc8_isp_tx_ch = <0>;
              vinc8_tdm_rx_sel = <0>;
              vinc8_rear_sensor_sel = <1>;
              vinc8_front_sensor_sel = <1>;
              vinc8_sensor_list = <0>;
              device_id = <8>;
              work_mode = <0x0>;
              status = "disabled";
      };
};


